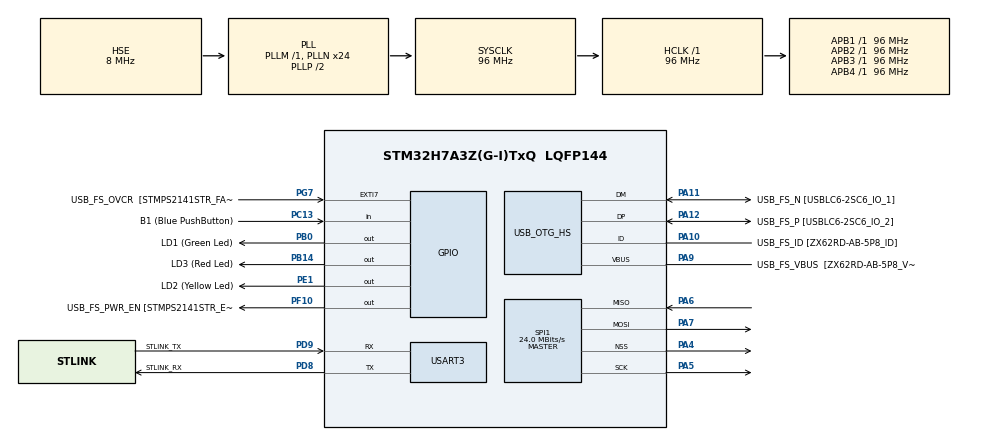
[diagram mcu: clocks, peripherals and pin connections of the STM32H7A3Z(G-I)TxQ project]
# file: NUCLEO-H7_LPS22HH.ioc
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Mcu.Family=STM32H7
Mcu.Name=STM32H7A3Z(G-I)TxQ
Mcu.Package=LQFP144
NVIC.PriorityGroup=NVIC_PRIORITYGROUP_4
PA10.GPIO_Label=USB_FS_ID [ZX62RD-AB-5P8_ID]
PA10.Mode=OTG/Dual-Role-Device-FS
PA10.Signal=USB_OTG_HS_ID
PA11.GPIO_Label=USB_FS_N [USBLC6-2SC6_IO_1]
PA11.Mode=OTG/Dual-Role-Device-FS
PA11.Signal=USB_OTG_HS_DM
PA12.GPIO_Label=USB_FS_P [USBLC6-2SC6_IO_2]
PA12.Mode=OTG/Dual-Role-Device-FS
PA12.Signal=USB_OTG_HS_DP
PA4.Mode=NSS_Signal_Hard_Output
PA4.Signal=SPI1_NSS
PA5.Mode=Full_Duplex_Master
PA5.Signal=SPI1_SCK
PA6.Mode=Full_Duplex_Master
PA6.Signal=SPI1_MISO
PA7.Mode=Full_Duplex_Master
PA7.Signal=SPI1_MOSI
PA9.GPIO_Label=USB_FS_VBUS  [ZX62RD-AB-5P8_VBUS]
PA9.Mode=Activate_VBUS_FS
PA9.Signal=USB_OTG_HS_VBUS
PB0.GPIO_Label=LD1 (Green Led)
PB0.Signal=GPIO_Output
PB14.GPIO_Label=LD3 (Red Led)
PB14.Signal=GPIO_Output
PC13.GPIO_Label=B1 (Blue PushButton)
PC13.Signal=GPIO_Input
PC14-OSC32_IN.GPIO_Label=OSC32_IN
PC14-OSC32_IN.Mode=LSE-External-Oscillator
PC14-OSC32_IN.Signal=RCC_OSC32_IN
PC15-OSC32_OUT.GPIO_Label=OSC32_OUT
PC15-OSC32_OUT.Mode=LSE-External-Oscillator
PC15-OSC32_OUT.Signal=RCC_OSC32_OUT
PD8.GPIO_Label=STLINK_RX
PD8.Mode=Asynchronous
PD8.Signal=USART3_TX
PD9.GPIO_Label=STLINK_TX
PD9.Mode=Asynchronous
PD9.Signal=USART3_RX
PE1.GPIO_Label=LD2 (Yellow Led)
PE1.Signal=GPIO_Output
PF10.GPIO_Label=USB_FS_PWR_EN [STMPS2141STR_EN]
PF10.Signal=GPIO_Output
PG7.GPIO_Label=USB_FS_OVCR  [STMPS2141STR_FAULT]
PG7.Signal=GPXTI7
PH0-OSC_IN.GPIO_Label=PH0-MCU
PH0-OSC_IN.Mode=HSE-External-Clock-Source
PH0-OSC_IN.Signal=RCC_OSC_IN
PH1-OSC_OUT.GPIO_Label=PH1-MCU
PH1-OSC_OUT.Signal=RCC_OSC_OUT
ProjectManager.HeapSize=0x200
ProjectManager.StackSize=0x400
ProjectManager.TargetToolchain=STM32CubeIDE
RCC.ADCFreq_Value=16125000
RCC.APB1Freq_Value=96000000
RCC.APB2Freq_Value=96000000
RCC.APB3Freq_Value=96000000
RCC.APB4Freq_Value=96000000
RCC.CortexFreq_Value=96000000
RCC.DIVM1=1
RCC.DIVM3=1
RCC.DIVN1=24
RCC.DIVN3=24
RCC.DIVQ1=4
RCC.HCLKFreq_Value=96000000
RCC.HSE_VALUE=8000000
RCC.PLLFRACN=0
RCC.PLLSourceVirtual=RCC_PLLSOURCE_HSE
RCC.PWR_Regulator_Voltage_Scale=PWR_REGULATOR_VOLTAGE_SCALE0
RCC.SYSCLKFreq_VALUE=96000000
RCC.SYSCLKSource=RCC_SYSCLKSOURCE_PLLCLK
RCC.SupplySource=PWR_DIRECT_SMPS_SUPPLY
RCC.USBCLockSelection=RCC_USBCLKSOURCE_HSI48
RCC.USBFreq_Value=48000000
SPI1.CalculateBaudRate=24.0 MBits/s
SPI1.Direction=SPI_DIRECTION_2LINES
SPI1.Mode=SPI_MODE_MASTER
SPI1.VirtualNSS=VM_NSSHARD
SPI1.VirtualType=VM_MASTER
USART3.VirtualMode-Asynchronous=VM_ASYNC
board=NUCLEO-H7A3ZI-Q

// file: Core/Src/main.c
/* USER CODE BEGIN Header */
/**
  ******************************************************************************
  * @file           : main.c
  * @brief          : Main program body
  ******************************************************************************
  * @attention
  *
  * Copyright (c) 2024 STMicroelectronics.
  * All rights reserved.
  *
  * This software is licensed under terms that can be found in the LICENSE file
  * in the root directory of this software component.
  * If no LICENSE file comes with this software, it is provided AS-IS.
  *
  ******************************************************************************
  */
/* USER CODE END Header */
#include "main.h"

/* USER CODE BEGIN Includes */
#include "string.h"
#include "stdio.h"
#include "lps22hh_reg.h"
/* USER CODE END Includes */

/* USER CODE BEGIN PD */
#define SENSOR_BUS hspi1  // Define communication interface
/* USER CODE END PD */

/* USER CODE BEGIN PM */
#define BOOT_TIME 5 //ms
#define TX_BUF_DIM 1000
/* USER CODE END PM */

SPI_HandleTypeDef hspi1;

UART_HandleTypeDef huart3;

/* USER CODE BEGIN PV */
static uint32_t data_raw_pressure;
static int16_t data_raw_temperature;
static float pressure_hPa;
static float temperature_degC;
static uint8_t whoamI, rst;
static uint8_t tx_buffer[TX_BUF_DIM];
/* USER CODE END PV */

void SystemClock_Config(void);
static void MX_GPIO_Init(void);
static void MX_USART3_UART_Init(void);
static void MX_USB_OTG_HS_USB_Init(void);
static void MX_SPI1_Init(void);

/* USER CODE BEGIN PFP */
static int32_t platform_write(void *handle, uint8_t reg, const uint8_t *bufp, uint16_t len);
static int32_t platform_read(void *handle, uint8_t reg, uint8_t *bufp, uint16_t len);
static void tx_com( uint8_t *tx_buffer, uint16_t len );
static void platform_delay(uint32_t ms);
/* USER CODE END PFP */

int main(void)
{

  /* MCU Configuration--------------------------------------------------------*/

  /* Reset of all peripherals, Initializes the Flash interface and the Systick. */
  HAL_Init();

  /* Configure the system clock */
  SystemClock_Config();

  /* Initialize all configured peripherals */
  MX_GPIO_Init();
  MX_USART3_UART_Init();
  MX_USB_OTG_HS_USB_Init();
  MX_SPI1_Init();

  /* USER CODE BEGIN 2 */

  stmdev_ctx_t dev_ctx;
  lps22hh_reg_t reg;
  // Initialize mems driver interface
  dev_ctx.write_reg = platform_write;
  dev_ctx.read_reg = platform_read;
  dev_ctx.mdelay = platform_delay;
  dev_ctx.handle = &SENSOR_BUS;

  // Wait sensor boot time
  platform_delay(BOOT_TIME);
  // Check device ID
  whoamI = 0;
  lps22hh_device_id_get(&dev_ctx, &whoamI);

  /*
  if ( whoamI != LPS22HH_ID )
    while (1); // manage here device not found
  */

  // Restore default configuration
  lps22hh_reset_set(&dev_ctx, PROPERTY_ENABLE);

  /*
  do {
    lps22hh_reset_get(&dev_ctx, &rst);
  } while (rst);
  */

  // Enable Block Data Update
  lps22hh_block_data_update_set(&dev_ctx, PROPERTY_ENABLE);
  // Set Output Data Rate
  lps22hh_data_rate_set(&dev_ctx, LPS22HH_10_Hz_LOW_NOISE);

  /* USER CODE END 2 */

  /* Infinite loop */
  /* USER CODE BEGIN WHILE */
  while (1)
  {
	HAL_GPIO_TogglePin(GPIOB,GPIO_PIN_0);
	HAL_Delay(500);

	// Read samples in polling mode (no int)
	// Read output only if new value is available
	lps22hh_read_reg(&dev_ctx, LPS22HH_STATUS, (uint8_t *)&reg, 1);

	if (reg.status.p_da) {
		memset(&data_raw_pressure, 0x00, sizeof(uint32_t));
		lps22hh_pressure_raw_get(&dev_ctx, &data_raw_pressure);
		pressure_hPa = lps22hh_from_lsb_to_hpa( data_raw_pressure);
		sprintf((char *)tx_buffer, "pressure [hPa]:%6.2f\r\n", pressure_hPa);
		tx_com( tx_buffer, strlen( (char const *)tx_buffer ) );
	}

	if (reg.status.t_da) {
		memset(&data_raw_temperature, 0x00, sizeof(int16_t));
		lps22hh_temperature_raw_get(&dev_ctx, &data_raw_temperature);
		temperature_degC = lps22hh_from_lsb_to_celsius(data_raw_temperature );
		sprintf((char *)tx_buffer, "temperature [degC]:%6.2f\r\n", temperature_degC );
		tx_com( tx_buffer, strlen( (char const *)tx_buffer ) );
	}

	HAL_GPIO_TogglePin(GPIOB,GPIO_PIN_14);
    /* USER CODE END WHILE */

  }
}

void SystemClock_Config(void)
{
  RCC_OscInitTypeDef RCC_OscInitStruct = {0};
  RCC_ClkInitTypeDef RCC_ClkInitStruct = {0};

  /*AXI clock gating */
  RCC->CKGAENR = 0xFFFFFFFF;

  /** Supply configuration update enable
  */
  HAL_PWREx_ConfigSupply(PWR_DIRECT_SMPS_SUPPLY);

  /** Configure the main internal regulator output voltage
  */
  __HAL_PWR_VOLTAGESCALING_CONFIG(PWR_REGULATOR_VOLTAGE_SCALE0);

  while(!__HAL_PWR_GET_FLAG(PWR_FLAG_VOSRDY)) {}

  /** Initializes the RCC Oscillators according to the specified parameters
  * in the RCC_OscInitTypeDef structure.
  */
  RCC_OscInitStruct.OscillatorType = RCC_OSCILLATORTYPE_HSI48|RCC_OSCILLATORTYPE_HSE;
  RCC_OscInitStruct.HSEState = RCC_HSE_BYPASS;
  RCC_OscInitStruct.HSI48State = RCC_HSI48_ON;
  RCC_OscInitStruct.PLL.PLLState = RCC_PLL_ON;
  RCC_OscInitStruct.PLL.PLLSource = RCC_PLLSOURCE_HSE;
  RCC_OscInitStruct.PLL.PLLM = 1;
  RCC_OscInitStruct.PLL.PLLN = 24;
  RCC_OscInitStruct.PLL.PLLP = 2;
  RCC_OscInitStruct.PLL.PLLQ = 4;
  RCC_OscInitStruct.PLL.PLLR = 2;
  RCC_OscInitStruct.PLL.PLLRGE = RCC_PLL1VCIRANGE_3;
  RCC_OscInitStruct.PLL.PLLVCOSEL = RCC_PLL1VCOWIDE;
  RCC_OscInitStruct.PLL.PLLFRACN = 0;
  if (HAL_RCC_OscConfig(&RCC_OscInitStruct) != HAL_OK)
  {
    Error_Handler();
  }

  /** Initializes the CPU, AHB and APB buses clocks
  */
  RCC_ClkInitStruct.ClockType = RCC_CLOCKTYPE_HCLK|RCC_CLOCKTYPE_SYSCLK
                              |RCC_CLOCKTYPE_PCLK1|RCC_CLOCKTYPE_PCLK2
                              |RCC_CLOCKTYPE_D3PCLK1|RCC_CLOCKTYPE_D1PCLK1;
  RCC_ClkInitStruct.SYSCLKSource = RCC_SYSCLKSOURCE_PLLCLK;
  RCC_ClkInitStruct.SYSCLKDivider = RCC_SYSCLK_DIV1;
  RCC_ClkInitStruct.AHBCLKDivider = RCC_HCLK_DIV1;
  RCC_ClkInitStruct.APB3CLKDivider = RCC_APB3_DIV1;
  RCC_ClkInitStruct.APB1CLKDivider = RCC_APB1_DIV1;
  RCC_ClkInitStruct.APB2CLKDivider = RCC_APB2_DIV1;
  RCC_ClkInitStruct.APB4CLKDivider = RCC_APB4_DIV1;

  if (HAL_RCC_ClockConfig(&RCC_ClkInitStruct, FLASH_LATENCY_2) != HAL_OK)
  {
    Error_Handler();
  }
}

static void MX_SPI1_Init(void)
{

  /* SPI1 parameter configuration*/
  hspi1.Instance = SPI1;
  hspi1.Init.Mode = SPI_MODE_MASTER;
  hspi1.Init.Direction = SPI_DIRECTION_2LINES;
  hspi1.Init.DataSize = SPI_DATASIZE_4BIT;
  hspi1.Init.CLKPolarity = SPI_POLARITY_LOW;
  hspi1.Init.CLKPhase = SPI_PHASE_1EDGE;
  hspi1.Init.NSS = SPI_NSS_HARD_OUTPUT;
  hspi1.Init.BaudRatePrescaler = SPI_BAUDRATEPRESCALER_2;
  hspi1.Init.FirstBit = SPI_FIRSTBIT_MSB;
  hspi1.Init.TIMode = SPI_TIMODE_DISABLE;
  hspi1.Init.CRCCalculation = SPI_CRCCALCULATION_DISABLE;
  hspi1.Init.CRCPolynomial = 0x0;
  hspi1.Init.NSSPMode = SPI_NSS_PULSE_ENABLE;
  hspi1.Init.NSSPolarity = SPI_NSS_POLARITY_LOW;
  hspi1.Init.FifoThreshold = SPI_FIFO_THRESHOLD_01DATA;
  hspi1.Init.TxCRCInitializationPattern = SPI_CRC_INITIALIZATION_ALL_ZERO_PATTERN;
  hspi1.Init.RxCRCInitializationPattern = SPI_CRC_INITIALIZATION_ALL_ZERO_PATTERN;
  hspi1.Init.MasterSSIdleness = SPI_MASTER_SS_IDLENESS_00CYCLE;
  hspi1.Init.MasterInterDataIdleness = SPI_MASTER_INTERDATA_IDLENESS_00CYCLE;
  hspi1.Init.MasterReceiverAutoSusp = SPI_MASTER_RX_AUTOSUSP_DISABLE;
  hspi1.Init.MasterKeepIOState = SPI_MASTER_KEEP_IO_STATE_DISABLE;
  hspi1.Init.IOSwap = SPI_IO_SWAP_DISABLE;
  if (HAL_SPI_Init(&hspi1) != HAL_OK)
  {
    Error_Handler();
  }

}

static void MX_USART3_UART_Init(void)
{

  huart3.Instance = USART3;
  huart3.Init.BaudRate = 115200;
  huart3.Init.WordLength = UART_WORDLENGTH_8B;
  huart3.Init.StopBits = UART_STOPBITS_1;
  huart3.Init.Parity = UART_PARITY_NONE;
  huart3.Init.Mode = UART_MODE_TX_RX;
  huart3.Init.HwFlowCtl = UART_HWCONTROL_NONE;
  huart3.Init.OverSampling = UART_OVERSAMPLING_16;
  huart3.Init.OneBitSampling = UART_ONE_BIT_SAMPLE_DISABLE;
  huart3.Init.ClockPrescaler = UART_PRESCALER_DIV1;
  huart3.AdvancedInit.AdvFeatureInit = UART_ADVFEATURE_NO_INIT;
  if (HAL_UART_Init(&huart3) != HAL_OK)
  {
    Error_Handler();
  }
  if (HAL_UARTEx_SetTxFifoThreshold(&huart3, UART_TXFIFO_THRESHOLD_1_8) != HAL_OK)
  {
    Error_Handler();
  }
  if (HAL_UARTEx_SetRxFifoThreshold(&huart3, UART_RXFIFO_THRESHOLD_1_8) != HAL_OK)
  {
    Error_Handler();
  }
  if (HAL_UARTEx_DisableFifoMode(&huart3) != HAL_OK)
  {
    Error_Handler();
  }

}

static void MX_USB_OTG_HS_USB_Init(void)
{

}

static void MX_GPIO_Init(void)
{
  GPIO_InitTypeDef GPIO_InitStruct = {0};

  /* GPIO Ports Clock Enable */
  __HAL_RCC_GPIOC_CLK_ENABLE();
  __HAL_RCC_GPIOF_CLK_ENABLE();
  __HAL_RCC_GPIOH_CLK_ENABLE();
  __HAL_RCC_GPIOA_CLK_ENABLE();
  __HAL_RCC_GPIOB_CLK_ENABLE();
  __HAL_RCC_GPIOD_CLK_ENABLE();
  __HAL_RCC_GPIOG_CLK_ENABLE();
  __HAL_RCC_GPIOE_CLK_ENABLE();

  /*Configure GPIO pin Output Level */
  HAL_GPIO_WritePin(USB_FS_PWR_EN_GPIO_Port, USB_FS_PWR_EN_Pin, GPIO_PIN_RESET);

  /*Configure GPIO pin Output Level */
  HAL_GPIO_WritePin(GPIOB, LD1_Pin|LD3_Pin, GPIO_PIN_RESET);

  /*Configure GPIO pin Output Level */
  HAL_GPIO_WritePin(LD2_GPIO_Port, LD2_Pin, GPIO_PIN_RESET);

  /*Configure GPIO pin : B1_Pin */
  GPIO_InitStruct.Pin = B1_Pin;
  GPIO_InitStruct.Mode = GPIO_MODE_INPUT;
  GPIO_InitStruct.Pull = GPIO_NOPULL;
  HAL_GPIO_Init(B1_GPIO_Port, &GPIO_InitStruct);

  /*Configure GPIO pin : USB_FS_PWR_EN_Pin */
  GPIO_InitStruct.Pin = USB_FS_PWR_EN_Pin;
  GPIO_InitStruct.Mode = GPIO_MODE_OUTPUT_PP;
  GPIO_InitStruct.Pull = GPIO_NOPULL;
  GPIO_InitStruct.Speed = GPIO_SPEED_FREQ_LOW;
  HAL_GPIO_Init(USB_FS_PWR_EN_GPIO_Port, &GPIO_InitStruct);

  /*Configure GPIO pins : LD1_Pin LD3_Pin */
  GPIO_InitStruct.Pin = LD1_Pin|LD3_Pin;
  GPIO_InitStruct.Mode = GPIO_MODE_OUTPUT_PP;
  GPIO_InitStruct.Pull = GPIO_NOPULL;
  GPIO_InitStruct.Speed = GPIO_SPEED_FREQ_LOW;
  HAL_GPIO_Init(GPIOB, &GPIO_InitStruct);

  /*Configure GPIO pin : USB_FS_OVCR_Pin */
  GPIO_InitStruct.Pin = USB_FS_OVCR_Pin;
  GPIO_InitStruct.Mode = GPIO_MODE_IT_RISING;
  GPIO_InitStruct.Pull = GPIO_NOPULL;
  HAL_GPIO_Init(USB_FS_OVCR_GPIO_Port, &GPIO_InitStruct);

  /*Configure GPIO pin : USB_FS_VBUS_Pin */
  GPIO_InitStruct.Pin = USB_FS_VBUS_Pin;
  GPIO_InitStruct.Mode = GPIO_MODE_INPUT;
  GPIO_InitStruct.Pull = GPIO_NOPULL;
  HAL_GPIO_Init(USB_FS_VBUS_GPIO_Port, &GPIO_InitStruct);

  /*Configure GPIO pin : USB_FS_ID_Pin */
  GPIO_InitStruct.Pin = USB_FS_ID_Pin;
  GPIO_InitStruct.Mode = GPIO_MODE_AF_PP;
  GPIO_InitStruct.Pull = GPIO_NOPULL;
  GPIO_InitStruct.Speed = GPIO_SPEED_FREQ_LOW;
  GPIO_InitStruct.Alternate = GPIO_AF10_OTG1_HS;
  HAL_GPIO_Init(USB_FS_ID_GPIO_Port, &GPIO_InitStruct);

  /*Configure GPIO pins : USB_FS_N_Pin USB_FS_P_Pin */
  GPIO_InitStruct.Pin = USB_FS_N_Pin|USB_FS_P_Pin;
  GPIO_InitStruct.Mode = GPIO_MODE_AF_PP;
  GPIO_InitStruct.Pull = GPIO_NOPULL;
  GPIO_InitStruct.Speed = GPIO_SPEED_FREQ_LOW;
  HAL_GPIO_Init(GPIOA, &GPIO_InitStruct);

  /*Configure GPIO pin : LD2_Pin */
  GPIO_InitStruct.Pin = LD2_Pin;
  GPIO_InitStruct.Mode = GPIO_MODE_OUTPUT_PP;
  GPIO_InitStruct.Pull = GPIO_NOPULL;
  GPIO_InitStruct.Speed = GPIO_SPEED_FREQ_LOW;
  HAL_GPIO_Init(LD2_GPIO_Port, &GPIO_InitStruct);

}

/* USER CODE BEGIN 4 */

/* USER CODE BEGIN 4 */
/*
 * @brief  Write generic device register (platform dependent)
 *
 * @param  handle    customizable argument. In this examples is used in
 *                   order to select the correct sensor bus handler.
 * @param  reg       register to write
 * @param  bufp      pointer to data to write in register reg
 * @param  len       number of consecutive register to write
 *
 */
static int32_t platform_write(void *handle, uint8_t reg, const uint8_t *bufp, uint16_t len)
{
  HAL_GPIO_WritePin(GPIOA, GPIO_PIN_15, GPIO_PIN_RESET);
  HAL_SPI_Transmit(handle, &reg, 1, 1000);
  HAL_SPI_Transmit(handle, (uint8_t*) bufp, len, 1000);
  HAL_GPIO_WritePin(GPIOA, GPIO_PIN_15, GPIO_PIN_SET);
  return 0;
}

/*
 * @brief  Read generic device register (platform dependent)
 *
 * @param  handle    customizable argument. In this examples is used in
 *                   order to select the correct sensor bus handler.
 * @param  reg       register to read
 * @param  bufp      pointer to buffer that store the data read
 * @param  len       number of consecutive register to read
 *
 */
static int32_t platform_read(void *handle, uint8_t reg, uint8_t *bufp, uint16_t len)
{
  reg |= 0x80;
  HAL_GPIO_WritePin(GPIOA, GPIO_PIN_15, GPIO_PIN_RESET);
  HAL_SPI_Transmit(handle, &reg, 1, 1000);
  HAL_SPI_Receive(handle, bufp, len, 1000);
  HAL_GPIO_WritePin(GPIOA, GPIO_PIN_15, GPIO_PIN_SET);
  return 0;
}

/*
 * @brief  Write generic device register (platform dependent)
 *
 * @param  tx_buffer     buffer to transmit
 * @param  len           number of byte to send
 *
 */
static void tx_com(uint8_t *tx_buffer, uint16_t len)
{
  HAL_UART_Transmit(&huart3, tx_buffer, len, 1000);
}

/*
 * @brief  platform specific delay (platform dependent)
 *
 * @param  ms        delay in ms
 *
 */
static void platform_delay(uint32_t ms)
{
  HAL_Delay(ms);
}

/* USER CODE END 4 */

void Error_Handler(void)
{
  __disable_irq();
  while (1)
  {
  }
}
